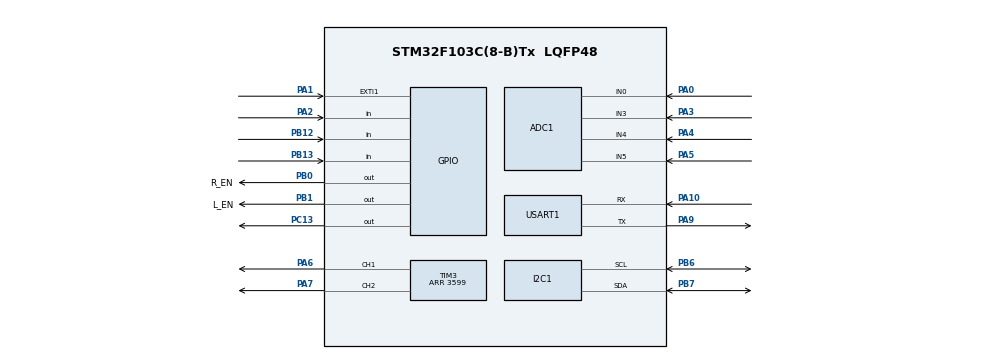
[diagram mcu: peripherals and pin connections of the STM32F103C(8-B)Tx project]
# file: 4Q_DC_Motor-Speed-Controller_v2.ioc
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ADC1.Channel-0\#ChannelRegularConversion=ADC_CHANNEL_0
ADC1.NbrOfConversionFlag=1
ADC1.Rank-0\#ChannelRegularConversion=1
ADC1.SamplingTime-0\#ChannelRegularConversion=ADC_SAMPLETIME_1CYCLE_5
ADC1.master=1
Mcu.Family=STM32F1
Mcu.Name=STM32F103C(8-B)Tx
Mcu.Package=LQFP48
NVIC.EXTI1_IRQn=true\:0\:0\:false\:false\:true\:true\:true\:true
NVIC.PriorityGroup=NVIC_PRIORITYGROUP_4
PA0-WKUP.Signal=ADCx_IN0
PA1.Signal=GPXTI1
PA10.Mode=Asynchronous
PA10.Signal=USART1_RX
PA13.Mode=Serial_Wire
PA13.Signal=SYS_JTMS-SWDIO
PA14.Mode=Serial_Wire
PA14.Signal=SYS_JTCK-SWCLK
PA2.Signal=GPIO_Input
PA3.Signal=ADCx_IN3
PA4.Signal=ADCx_IN4
PA5.Signal=ADCx_IN5
PA6.Signal=S_TIM3_CH1
PA7.Signal=S_TIM3_CH2
PA9.Mode=Asynchronous
PA9.Signal=USART1_TX
PB0.GPIO_Label=R_EN
PB0.Signal=GPIO_Output
PB1.GPIO_Label=L_EN
PB1.Signal=GPIO_Output
PB12.GPIO_PuPd=GPIO_PULLUP
PB12.Signal=GPIO_Input
PB13.GPIO_PuPd=GPIO_PULLUP
PB13.Signal=GPIO_Input
PB6.Mode=I2C
PB6.Signal=I2C1_SCL
PB7.Mode=I2C
PB7.Signal=I2C1_SDA
PC13-TAMPER-RTC.Signal=GPIO_Output
PD0-OSC_IN.Mode=HSE-External-Oscillator
PD0-OSC_IN.Signal=RCC_OSC_IN
PD1-OSC_OUT.Mode=HSE-External-Oscillator
PD1-OSC_OUT.Signal=RCC_OSC_OUT
ProjectManager.HeapSize=0x200
ProjectManager.StackSize=0x400
ProjectManager.TargetToolchain=STM32CubeIDE
RCC.APB1CLKDivider=RCC_HCLK_DIV2
RCC.APB1Freq_Value=4000000
RCC.APB1TimFreq_Value=8000000
RCC.APB2Freq_Value=8000000
RCC.PLLMUL=RCC_PLL_MUL9
RCC.PLLSourceVirtual=RCC_PLLSOURCE_HSE
RCC.USBFreq_Value=72000000
SH.ADCx_IN0.0=ADC1_IN0,IN0
SH.ADCx_IN3.0=ADC1_IN3,IN3
SH.ADCx_IN4.0=ADC1_IN4,IN4
SH.ADCx_IN5.0=ADC1_IN5,IN5
SH.S_TIM3_CH1.0=TIM3_CH1,PWM Generation1 CH1
SH.S_TIM3_CH2.0=TIM3_CH2,PWM Generation2 CH2
TIM3.Channel-PWM\ Generation1\ CH1=TIM_CHANNEL_1
TIM3.Channel-PWM\ Generation2\ CH2=TIM_CHANNEL_2
TIM3.Period=3599
USART1.VirtualMode=VM_ASYNC
board=custom

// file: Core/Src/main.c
/* USER CODE BEGIN Header */
/**
  ******************************************************************************
  * @file           : main.c
  * @brief          : Main program body
  ******************************************************************************
  * @attention
  *
  * Copyright (c) 2026 STMicroelectronics.
  * All rights reserved.
  *
  * This software is licensed under terms that can be found in the LICENSE file
  * in the root directory of this software component.
  * If no LICENSE file comes with this software, it is provided AS-IS.
  *
  ******************************************************************************
  */
/* USER CODE END Header */
#include "main.h"

/* USER CODE BEGIN Includes */

#include <stdio.h>

#include "pwm_control.h"
//#include "control_loop.h"
#include "uart_debug.h"
#include "adc_measure.h"
#include "encoder_rpm.h"
#include "fault_safety.h"
#include "oled_app.h"

/* USER CODE END Includes */

/* USER CODE BEGIN PD */

#define USE_MOCK_SENSOR_DATA      0
#define MOCK_FORCE_OVERCURRENT    0
#define START_IN_4Q_TEST_MODE     0

/* USER CODE END PD */

ADC_HandleTypeDef hadc1;

I2C_HandleTypeDef hi2c1;

TIM_HandleTypeDef htim3;

UART_HandleTypeDef huart1;

/* USER CODE BEGIN PV */

static uint16_t target_duty = 0;
static uint16_t actual_duty = 0;
static uint16_t requested_duty = 0;

static MotorDirection_t current_direction = MOTOR_CW;

static uint8_t test_mode_enabled = 0;
static uint32_t last_direction_change_ms = 0;

static GPIO_PinState last_button_state = GPIO_PIN_SET;
static uint32_t last_button_time_ms = 0;

static GPIO_PinState last_estop_button_state = GPIO_PIN_SET;
static uint32_t last_estop_button_time_ms = 0;
static uint8_t emergency_stop_latched = 0;

uint16_t display_pwm_percent = 0;
int16_t display_rpm = 0;
float display_current_A = 0.0f;

char display_direction[8] = "STOP";
char display_status[12] = "READY";

typedef enum
{
    TEST_STATE_RUN = 0,
    TEST_STATE_RAMP_DOWN,
    TEST_STATE_CHANGE_DIR
} TestState_t;

static TestState_t test_state = TEST_STATE_RUN;

#define DUTY_RAMP_STEP       15U
#define CONTROL_DELAY_MS     20U
#define TEST_SWITCH_MS       4000U
#define BUTTON_DEBOUNCE_MS   200U

#define FOUR_Q_MIN_DUTY      1200U

#define ACS_DEMO_RAW_MIN_A       3.40f
#define ACS_DEMO_RAW_MAX_A       5.70f
#define ACS_DEMO_DISPLAY_MAX_A   1.20f
#define ACS_DEMO_FAULT_LIMIT_A   1.00f

FaultState_t fault_state = FAULT_NONE;
uint8_t overcurrent_fault = 0;

static uint8_t demo_overcurrent_latched = 0;
static float demo_latched_current_A = 0.0f;

uint32_t last_debug_ms = 0;
#define DEBUG_PERIOD_MS 500U

#if USE_MOCK_SENSOR_DATA
static float mock_pot_percent = 0.0f;
static uint8_t mock_pot_increasing = 1;
#endif

/* USER CODE END PV */

void SystemClock_Config(void);
static void MX_GPIO_Init(void);
static void MX_USART1_UART_Init(void);
static void MX_ADC1_Init(void);
static void MX_I2C1_Init(void);
static void MX_TIM3_Init(void);

/* USER CODE BEGIN 0 */

static void Update_Display_Data(uint16_t duty,
                                float rpm,
                                float current_A,
                                MotorDirection_t direction,
                                uint8_t fault_active,
                                uint8_t estop_active)
{
    display_pwm_percent = (uint16_t)((duty * 100U) / MOTOR_PWM_MAX_DUTY);
    display_rpm = (int16_t)rpm;
    display_current_A = current_A;

    if (estop_active)
    {
        snprintf(display_status, sizeof(display_status), "ESTOP");
    }
    else if (fault_active)
    {
        snprintf(display_status, sizeof(display_status), "FAULT");
    }
    else if (duty == 0)
    {
        snprintf(display_status, sizeof(display_status), "STOP");
    }
    else
    {
        snprintf(display_status, sizeof(display_status), "RUN");
    }

    if (direction == MOTOR_CW)
    {
        snprintf(display_direction, sizeof(display_direction), "CW");
    }
    else if (direction == MOTOR_CCW)
    {
        snprintf(display_direction, sizeof(display_direction), "CCW");
    }
    else
    {
        snprintf(display_direction, sizeof(display_direction), "STOP");
    }
}

#if USE_MOCK_SENSOR_DATA
static void Mock_UpdateSensorData(float *pot_percent,
                                  float *motor_current_A,
                                  float *motor_voltage_V,
                                  float *motor_rpm)
{
    if (mock_pot_increasing)
    {
        mock_pot_percent += 2.0f;

        if (mock_pot_percent >= 80.0f)
        {
            mock_pot_percent = 80.0f;
            mock_pot_increasing = 0;
        }
    }
    else
    {
        mock_pot_percent -= 2.0f;

        if (mock_pot_percent <= 0.0f)
        {
            mock_pot_percent = 0.0f;
            mock_pot_increasing = 1;
        }
    }

    *pot_percent = mock_pot_percent;

    /*
     * Mock akım:
     * PWM talebi arttıkça akım da artıyor gibi simüle ediyoruz.
     * Limit 1A olduğu için normalde fault oluşturmuyor.
     */
#if MOCK_FORCE_OVERCURRENT
    *motor_current_A = 1.20f;
#else
    *motor_current_A = 0.10f + (mock_pot_percent / 100.0f) * 0.60f;
#endif
    /*
     * Mock motor voltajı:
     * 12V sistem varsayımıyla pot yüzdesine bağlı.
     */
    *motor_voltage_V = 12.0f * (mock_pot_percent / 100.0f);

    /*
     * Mock RPM:
     * Motor yokken yaklaşık bir RPM davranışı üretir.
     */
    *motor_rpm = mock_pot_percent * 2.0f;
}
#endif

static float ACS_DemoScaleCurrent(float raw_current_A)
{
    float scaled_A = 0.0f;

    if (raw_current_A <= ACS_DEMO_RAW_MIN_A)
    {
        scaled_A = 0.0f;
    }
    else if (raw_current_A >= ACS_DEMO_RAW_MAX_A)
    {
        scaled_A = ACS_DEMO_DISPLAY_MAX_A;
    }
    else
    {
        scaled_A = ((raw_current_A - ACS_DEMO_RAW_MIN_A) /
                    (ACS_DEMO_RAW_MAX_A - ACS_DEMO_RAW_MIN_A)) *
                    ACS_DEMO_DISPLAY_MAX_A;
    }

    return scaled_A;
}

/* USER CODE END 0 */

int main(void)
{

  /* MCU Configuration--------------------------------------------------------*/

  /* Reset of all peripherals, Initializes the Flash interface and the Systick. */
  HAL_Init();

  /* Configure the system clock */
  SystemClock_Config();

  /* Initialize all configured peripherals */
  MX_GPIO_Init();
  MX_USART1_UART_Init();
  MX_ADC1_Init();
  MX_I2C1_Init();
  MX_TIM3_Init();
  /* USER CODE BEGIN 2 */

  UART_Debug_Init(&huart1);
  UART_Debug_Print("UART debug started\r\n");

  UART_Debug_Print("System started\r\n");

  ADCMeasure_Init(&hadc1);
  UART_Debug_Print("ADC measure initialized\r\n");

  HAL_Delay(1000);

  ADCMeasure_CalibrateCurrentZero();
  UART_Debug_Print("ACS712 current zero calibrated\r\n");

  EncoderRPM_Init();
  UART_Debug_Print("Encoder RPM initialized\r\n");

  Motor_Init(&htim3, TIM_CHANNEL_1, TIM_CHANNEL_2);
  UART_Debug_Print("Motor PWM initialized\r\n");

  Fault_Init();
  UART_Debug_Print("Fault safety initialized\r\n");

  OLED_App_Init(&hi2c1);
  UART_Debug_Print("OLED app initialized\r\n");

  //motoru sabit duty ile sürmek için:
  // Motor_Set_Speed(1200, MOTOR_CW);
  //UART_Debug_Print("Motor test: CW, duty=1200\r\n");
  UART_Debug_Print("Pot controlled PWM mode started\r\n");

  test_mode_enabled = START_IN_4Q_TEST_MODE;
  last_direction_change_ms = HAL_GetTick();
  current_direction = MOTOR_CW;
  test_state = TEST_STATE_RUN;

  if (test_mode_enabled)
  {
      UART_Debug_Print("4Q test mode started\r\n");
  }
  else
  {
      UART_Debug_Print("Normal mode started\r\n");
  }

  #if USE_MOCK_SENSOR_DATA
      UART_Debug_Print("MOCK SENSOR MODE ACTIVE\r\n");
  #endif

  #if MOCK_FORCE_OVERCURRENT
      UART_Debug_Print("MOCK OVERCURRENT TEST ACTIVE\r\n");
  #endif

  /* USER CODE END 2 */

  /* Infinite loop */
  while (1)
  {

    /* USER CODE BEGIN 3 */

	  /*
	   * PB12 test butonu:
	   * Pull-up kullanıldığı için butona basınca pin RESET okunur.
	   * Her basışta normal mod <-> 4Q test modu arasında geçiş yapılır.
	   */
	  GPIO_PinState button_state = HAL_GPIO_ReadPin(GPIOB, GPIO_PIN_12);

	  if ((last_button_state == GPIO_PIN_SET) && (button_state == GPIO_PIN_RESET))
	  {
	      uint32_t now = HAL_GetTick();

	      if ((now - last_button_time_ms) > BUTTON_DEBOUNCE_MS)
	      {
	          last_button_time_ms = now;

	          test_mode_enabled = !test_mode_enabled;

	          /*
	           * Mod değişirken sistemi güvenli başlatıyoruz.
	           */
	          actual_duty = 0;
	          target_duty = 0;
	          test_state = TEST_STATE_RUN;
	          current_direction = MOTOR_CW;
	          last_direction_change_ms = HAL_GetTick();

	          Motor_Emergency_Stop();

	          if (test_mode_enabled)
	          {
	              UART_Debug_Print("4Q test mode enabled\r\n");
	          }
	          else
	          {
	              UART_Debug_Print("Normal mode enabled\r\n");
	          }
	      }
	  }

	  last_button_state = button_state;

	  /*
	   * PB13 emergency stop butonu:
	   * Pull-up kullanıldığı için butona basınca pin RESET okunur.
	   * Her basışta emergency stop aktif/pasif olur.
	   */
	  GPIO_PinState estop_button_state = HAL_GPIO_ReadPin(GPIOB, GPIO_PIN_13);

	  if ((last_estop_button_state == GPIO_PIN_SET) &&
	      (estop_button_state == GPIO_PIN_RESET))
	  {
	      uint32_t now = HAL_GetTick();

	      if ((now - last_estop_button_time_ms) > BUTTON_DEBOUNCE_MS)
	      {
	          last_estop_button_time_ms = now;

	          emergency_stop_latched = !emergency_stop_latched;

	          actual_duty = 0;
	          target_duty = 0;
	          requested_duty = 0;

	          test_state = TEST_STATE_RUN;
	          current_direction = MOTOR_CW;
	          last_direction_change_ms = HAL_GetTick();

	          Motor_Emergency_Stop();

	          if (emergency_stop_latched)
	          {
	              UART_Debug_Print("EMERGENCY STOP ACTIVE\r\n");
	          }
	          else
	          {
	              UART_Debug_Print("EMERGENCY STOP CLEARED\r\n");
	          }
	      }
	  }

	  last_estop_button_state = estop_button_state;

	  float pot_percent = 0.0f;
	  float motor_current_A = 0.0f;
	  float motor_voltage_V = 0.0f;
	  float motor_rpm = 0.0f;

	  #if USE_MOCK_SENSOR_DATA

	  Mock_UpdateSensorData(&pot_percent,
	                        &motor_current_A,
	                        &motor_voltage_V,
	                        &motor_rpm);

	  #else

	  pot_percent = ADCMeasure_GetPotPercent();
	  motor_current_A = ADCMeasure_GetMotorCurrentA();
	  motor_voltage_V = ADCMeasure_GetMotorVoltage();

	 // motor_current_A = ACS_DemoScaleCurrent(motor_current_A);

	  /* DEMO current model:
	   * Pot %0 iken 0.00 A,
	   * Pot %100 iken 1.20 A gösterir.
	   * Böylece 1.00 A üstü fault testi net yapılır.
	   */
	  motor_current_A = (pot_percent / 100.0f) * 1.20f;

	  EncoderRPM_Update();
	  motor_rpm = EncoderRPM_GetRPM();

	  #endif

	  (void)motor_voltage_V;

	  /*
	   * Fault / overcurrent protection
	   *
	   * Akım güvenlik kontrolü artık fault_safety.c içindeki
	   * Fault_Check() fonksiyonu ile yapılıyor.
	   */
	  uint8_t previous_fault_state = overcurrent_fault;

	  /* DEMO overcurrent fault with hysteresis
	   * 1.00 A üstünde FAULT'a girer.
	   * 0.85 A altına düşünce FAULT'tan çıkar.
	   */
	  if (!overcurrent_fault)
	  {
	      if (motor_current_A >= 1.00f)
	      {
	          fault_state = FAULT_OVERCURRENT;
	          overcurrent_fault = 1;

	          actual_duty = 0;
	          target_duty = 0;
	          requested_duty = 0;

	          Motor_Emergency_Stop();
	      }
	      else
	      {
	          fault_state = FAULT_NONE;
	          overcurrent_fault = 0;
	      }
	  }
	  else
	  {
	      if (motor_current_A <= 0.85f)
	      {
	          fault_state = FAULT_NONE;
	          overcurrent_fault = 0;

	          actual_duty = 0;
	          target_duty = 0;
	          requested_duty = 0;

	          test_state = TEST_STATE_RUN;
	          last_direction_change_ms = HAL_GetTick();
	      }
	      else
	      {
	          fault_state = FAULT_OVERCURRENT;
	          overcurrent_fault = 1;

	          actual_duty = 0;
	          target_duty = 0;
	          requested_duty = 0;

	          Motor_Emergency_Stop();
	      }
	  }

	  /* GEÇİCİ TEST: ACS712 fault devre dışı */
	  //overcurrent_fault = 0;
	  //fault_state = FAULT_NONE;

	  /*
	   * Fault yeni aktif olduysa motoru güvenli şekilde durdur.
	   */
	  if (!previous_fault_state && overcurrent_fault)
	  {
	      actual_duty = 0;
	      target_duty = 0;

	      Motor_Emergency_Stop();
	  }

	  /*
	   * Fault yeni temizlendiyse sistemi güvenli başlangıç durumuna al.
	   */
	  else if (previous_fault_state && !overcurrent_fault)
	  {
	      actual_duty = 0;
	      target_duty = 0;

	      test_state = TEST_STATE_RUN;
	      last_direction_change_ms = HAL_GetTick();
	  }

	  if (!overcurrent_fault && !emergency_stop_latched)
	  {
	      /*
	       * Potansiyometreden istenen duty hesaplanır.
	       */
	      requested_duty = (uint16_t)((pot_percent / 100.0f) * MOTOR_PWM_SAFE_MAX);

	      if (test_mode_enabled)
	      {
	          if (requested_duty < FOUR_Q_MIN_DUTY)
	          {
	              requested_duty = FOUR_Q_MIN_DUTY;
	          }
	      }
	      /*
	       * 4Q test modu state-machine.
	       */
	      if (test_mode_enabled)
	      {
	          uint32_t now = HAL_GetTick();

	          switch (test_state)
	          {
	              case TEST_STATE_RUN:
	                  target_duty = requested_duty;

	                  if ((now - last_direction_change_ms) >= TEST_SWITCH_MS)
	                  {
	                      test_state = TEST_STATE_RAMP_DOWN;
	                  }
	                  break;

	              case TEST_STATE_RAMP_DOWN:
	                  target_duty = 0;

	                  if (actual_duty == 0)
	                  {
	                      test_state = TEST_STATE_CHANGE_DIR;
	                  }
	                  break;

	              case TEST_STATE_CHANGE_DIR:
	                  if (current_direction == MOTOR_CW)
	                  {
	                      current_direction = MOTOR_CCW;
	                  }
	                  else
	                  {
	                      current_direction = MOTOR_CW;
	                  }

	                  last_direction_change_ms = HAL_GetTick();
	                  test_state = TEST_STATE_RUN;
	                  break;

	              default:
	                  test_state = TEST_STATE_RUN;
	                  break;
	          }
	      }
	      else
	      {
	          /*
	           * Normal mod:
	           * Potansiyometre hızı belirler, yön şimdilik CW.
	           */
	          target_duty = requested_duty;
	          current_direction = MOTOR_CW;
	      }

	      /*
	       * Ramp algoritması:
	       * actual_duty, target_duty'ye yavaşça yaklaşır.
	       */
	      if (actual_duty < target_duty)
	      {
	          uint16_t diff = target_duty - actual_duty;

	          if (diff > DUTY_RAMP_STEP)
	          {
	              actual_duty += DUTY_RAMP_STEP;
	          }
	          else
	          {
	              actual_duty = target_duty;
	          }
	      }
	      else if (actual_duty > target_duty)
	      {
	          uint16_t diff = actual_duty - target_duty;

	          if (diff > DUTY_RAMP_STEP)
	          {
	              actual_duty -= DUTY_RAMP_STEP;
	          }
	          else
	          {
	              actual_duty = target_duty;
	          }
	      }
	  }
	  else
	  {
	      /*
	       * Fault aktifken hiçbir yeni duty üretilmesin.
	       */
	      requested_duty = 0;
	      target_duty = 0;
	      actual_duty = 0;
	  }

	    //Eğer fault aktifse ramp veya test state-machine yanlışlıkla
	    //duty üretse bile motor kesinlikle sürülmesin.
	    if (!overcurrent_fault && !emergency_stop_latched)
	    {
	        Motor_Set_Speed(actual_duty, current_direction);
	    }
	    else
	    {
	        Motor_Emergency_Stop();
	    }

	    Update_Display_Data(actual_duty,
	                        motor_rpm,
	                        motor_current_A,
	                        current_direction,
	                        overcurrent_fault,
	                        emergency_stop_latched);

	    if (test_mode_enabled && !overcurrent_fault && !emergency_stop_latched)
	    {
	        if ((test_state == TEST_STATE_RUN) && (current_direction == MOTOR_CW))
	        {
	            snprintf(display_status, sizeof(display_status), "Q1 MOTOR");
	            snprintf(display_direction, sizeof(display_direction), "CW");
	        }
	        else if ((test_state == TEST_STATE_RAMP_DOWN) && (current_direction == MOTOR_CW))
	        {
	            snprintf(display_status, sizeof(display_status), "Q2 BRAKE");
	            snprintf(display_direction, sizeof(display_direction), "CW");
	        }
	        else if ((test_state == TEST_STATE_RUN) && (current_direction == MOTOR_CCW))
	        {
	            snprintf(display_status, sizeof(display_status), "Q3 MOTOR");
	            snprintf(display_direction, sizeof(display_direction), "CCW");
	        }
	        else if ((test_state == TEST_STATE_RAMP_DOWN) && (current_direction == MOTOR_CCW))
	        {
	            snprintf(display_status, sizeof(display_status), "Q4 BRAKE");
	            snprintf(display_direction, sizeof(display_direction), "CCW");
	        }
	    }

	    if ((HAL_GetTick() - last_debug_ms) >= DEBUG_PERIOD_MS)
	    {

	    	last_debug_ms = HAL_GetTick();

	        HAL_GPIO_TogglePin(GPIOC, GPIO_PIN_13);

	        UART_Debug_PrintSystemData(display_pwm_percent,
	                                   display_rpm,
	                                   display_current_A,
	                                   display_direction,
	                                   display_status);

	        OLED_App_UpdateMainScreen(display_pwm_percent,
	                                  display_rpm,
	                                  display_current_A,
	                                  display_direction,
	                                  display_status);
	    }

	    HAL_Delay(CONTROL_DELAY_MS);

  }
  /* USER CODE END 3 */
}

void SystemClock_Config(void)
{
  RCC_OscInitTypeDef RCC_OscInitStruct = {0};
  RCC_ClkInitTypeDef RCC_ClkInitStruct = {0};
  RCC_PeriphCLKInitTypeDef PeriphClkInit = {0};

  /** Initializes the RCC Oscillators according to the specified parameters
  * in the RCC_OscInitTypeDef structure.
  */
  RCC_OscInitStruct.OscillatorType = RCC_OSCILLATORTYPE_HSI;
  RCC_OscInitStruct.HSIState = RCC_HSI_ON;
  RCC_OscInitStruct.HSICalibrationValue = RCC_HSICALIBRATION_DEFAULT;
  RCC_OscInitStruct.PLL.PLLState = RCC_PLL_NONE;
  if (HAL_RCC_OscConfig(&RCC_OscInitStruct) != HAL_OK)
  {
    Error_Handler();
  }

  /** Initializes the CPU, AHB and APB buses clocks
  */
  RCC_ClkInitStruct.ClockType = RCC_CLOCKTYPE_HCLK|RCC_CLOCKTYPE_SYSCLK
                              |RCC_CLOCKTYPE_PCLK1|RCC_CLOCKTYPE_PCLK2;
  RCC_ClkInitStruct.SYSCLKSource = RCC_SYSCLKSOURCE_HSI;
  RCC_ClkInitStruct.AHBCLKDivider = RCC_SYSCLK_DIV1;
  RCC_ClkInitStruct.APB1CLKDivider = RCC_HCLK_DIV2;
  RCC_ClkInitStruct.APB2CLKDivider = RCC_HCLK_DIV1;

  if (HAL_RCC_ClockConfig(&RCC_ClkInitStruct, FLASH_LATENCY_0) != HAL_OK)
  {
    Error_Handler();
  }
  PeriphClkInit.PeriphClockSelection = RCC_PERIPHCLK_ADC;
  PeriphClkInit.AdcClockSelection = RCC_ADCPCLK2_DIV2;
  if (HAL_RCCEx_PeriphCLKConfig(&PeriphClkInit) != HAL_OK)
  {
    Error_Handler();
  }
}

static void MX_ADC1_Init(void)
{

  ADC_ChannelConfTypeDef sConfig = {0};

  /** Common config
  */
  hadc1.Instance = ADC1;
  hadc1.Init.ScanConvMode = ADC_SCAN_DISABLE;
  hadc1.Init.ContinuousConvMode = DISABLE;
  hadc1.Init.DiscontinuousConvMode = DISABLE;
  hadc1.Init.ExternalTrigConv = ADC_SOFTWARE_START;
  hadc1.Init.DataAlign = ADC_DATAALIGN_RIGHT;
  hadc1.Init.NbrOfConversion = 1;
  if (HAL_ADC_Init(&hadc1) != HAL_OK)
  {
    Error_Handler();
  }

  /** Configure Regular Channel
  */
  sConfig.Channel = ADC_CHANNEL_0;
  sConfig.Rank = ADC_REGULAR_RANK_1;
  sConfig.SamplingTime = ADC_SAMPLETIME_71CYCLES_5;
  if (HAL_ADC_ConfigChannel(&hadc1, &sConfig) != HAL_OK)
  {
    Error_Handler();
  }

}

static void MX_I2C1_Init(void)
{

  hi2c1.Instance = I2C1;
  hi2c1.Init.ClockSpeed = 100000;
  hi2c1.Init.DutyCycle = I2C_DUTYCYCLE_2;
  hi2c1.Init.OwnAddress1 = 0;
  hi2c1.Init.AddressingMode = I2C_ADDRESSINGMODE_7BIT;
  hi2c1.Init.DualAddressMode = I2C_DUALADDRESS_DISABLE;
  hi2c1.Init.OwnAddress2 = 0;
  hi2c1.Init.GeneralCallMode = I2C_GENERALCALL_DISABLE;
  hi2c1.Init.NoStretchMode = I2C_NOSTRETCH_DISABLE;
  if (HAL_I2C_Init(&hi2c1) != HAL_OK)
  {
    Error_Handler();
  }

}

static void MX_TIM3_Init(void)
{

  TIM_MasterConfigTypeDef sMasterConfig = {0};
  TIM_OC_InitTypeDef sConfigOC = {0};

  htim3.Instance = TIM3;
  htim3.Init.Prescaler = 0;
  htim3.Init.CounterMode = TIM_COUNTERMODE_UP;
  htim3.Init.Period = 3599;
  htim3.Init.ClockDivision = TIM_CLOCKDIVISION_DIV1;
  htim3.Init.AutoReloadPreload = TIM_AUTORELOAD_PRELOAD_DISABLE;
  if (HAL_TIM_PWM_Init(&htim3) != HAL_OK)
  {
    Error_Handler();
  }
  sMasterConfig.MasterOutputTrigger = TIM_TRGO_RESET;
  sMasterConfig.MasterSlaveMode = TIM_MASTERSLAVEMODE_DISABLE;
  if (HAL_TIMEx_MasterConfigSynchronization(&htim3, &sMasterConfig) != HAL_OK)
  {
    Error_Handler();
  }
  sConfigOC.OCMode = TIM_OCMODE_PWM1;
  sConfigOC.Pulse = 0;
  sConfigOC.OCPolarity = TIM_OCPOLARITY_HIGH;
  sConfigOC.OCFastMode = TIM_OCFAST_DISABLE;
  if (HAL_TIM_PWM_ConfigChannel(&htim3, &sConfigOC, TIM_CHANNEL_1) != HAL_OK)
  {
    Error_Handler();
  }
  if (HAL_TIM_PWM_ConfigChannel(&htim3, &sConfigOC, TIM_CHANNEL_2) != HAL_OK)
  {
    Error_Handler();
  }
  HAL_TIM_MspPostInit(&htim3);

}

static void MX_USART1_UART_Init(void)
{

  huart1.Instance = USART1;
  huart1.Init.BaudRate = 115200;
  huart1.Init.WordLength = UART_WORDLENGTH_8B;
  huart1.Init.StopBits = UART_STOPBITS_1;
  huart1.Init.Parity = UART_PARITY_NONE;
  huart1.Init.Mode = UART_MODE_TX_RX;
  huart1.Init.HwFlowCtl = UART_HWCONTROL_NONE;
  huart1.Init.OverSampling = UART_OVERSAMPLING_16;
  if (HAL_UART_Init(&huart1) != HAL_OK)
  {
    Error_Handler();
  }

}

static void MX_GPIO_Init(void)
{
  GPIO_InitTypeDef GPIO_InitStruct = {0};

  /* GPIO Ports Clock Enable */
  __HAL_RCC_GPIOC_CLK_ENABLE();
  __HAL_RCC_GPIOD_CLK_ENABLE();
  __HAL_RCC_GPIOA_CLK_ENABLE();
  __HAL_RCC_GPIOB_CLK_ENABLE();

  /*Configure GPIO pin Output Level */
  HAL_GPIO_WritePin(GPIOC, GPIO_PIN_13, GPIO_PIN_RESET);

  /*Configure GPIO pin Output Level */
  HAL_GPIO_WritePin(GPIOB, R_EN_Pin|L_EN_Pin, GPIO_PIN_RESET);

  /*Configure GPIO pin : PC13 */
  GPIO_InitStruct.Pin = GPIO_PIN_13;
  GPIO_InitStruct.Mode = GPIO_MODE_OUTPUT_PP;
  GPIO_InitStruct.Pull = GPIO_NOPULL;
  GPIO_InitStruct.Speed = GPIO_SPEED_FREQ_LOW;
  HAL_GPIO_Init(GPIOC, &GPIO_InitStruct);

  /*Configure GPIO pin : PA1 */
  GPIO_InitStruct.Pin = GPIO_PIN_1;
  GPIO_InitStruct.Mode = GPIO_MODE_IT_RISING;
  GPIO_InitStruct.Pull = GPIO_NOPULL;
  HAL_GPIO_Init(GPIOA, &GPIO_InitStruct);

  /*Configure GPIO pin : PA2 */
  GPIO_InitStruct.Pin = GPIO_PIN_2;
  GPIO_InitStruct.Mode = GPIO_MODE_INPUT;
  GPIO_InitStruct.Pull = GPIO_NOPULL;
  HAL_GPIO_Init(GPIOA, &GPIO_InitStruct);

  /*Configure GPIO pins : R_EN_Pin L_EN_Pin */
  GPIO_InitStruct.Pin = R_EN_Pin|L_EN_Pin;
  GPIO_InitStruct.Mode = GPIO_MODE_OUTPUT_PP;
  GPIO_InitStruct.Pull = GPIO_NOPULL;
  GPIO_InitStruct.Speed = GPIO_SPEED_FREQ_LOW;
  HAL_GPIO_Init(GPIOB, &GPIO_InitStruct);

  /*Configure GPIO pins : PB12 PB13 */
  GPIO_InitStruct.Pin = GPIO_PIN_12|GPIO_PIN_13;
  GPIO_InitStruct.Mode = GPIO_MODE_INPUT;
  GPIO_InitStruct.Pull = GPIO_PULLUP;
  HAL_GPIO_Init(GPIOB, &GPIO_InitStruct);

  /* EXTI interrupt init*/
  HAL_NVIC_SetPriority(EXTI1_IRQn, 0, 0);
  HAL_NVIC_EnableIRQ(EXTI1_IRQn);

}

/* USER CODE BEGIN 4 */
void HAL_GPIO_EXTI_Callback(uint16_t GPIO_Pin) {
    if (GPIO_Pin == GPIO_PIN_1) { // PA1 Encoder Pini
        EncoderRPM_OnPulse();
    }
}
/* USER CODE END 4 */

void Error_Handler(void)
{
  __disable_irq();
  while (1)
  {
  }
}
